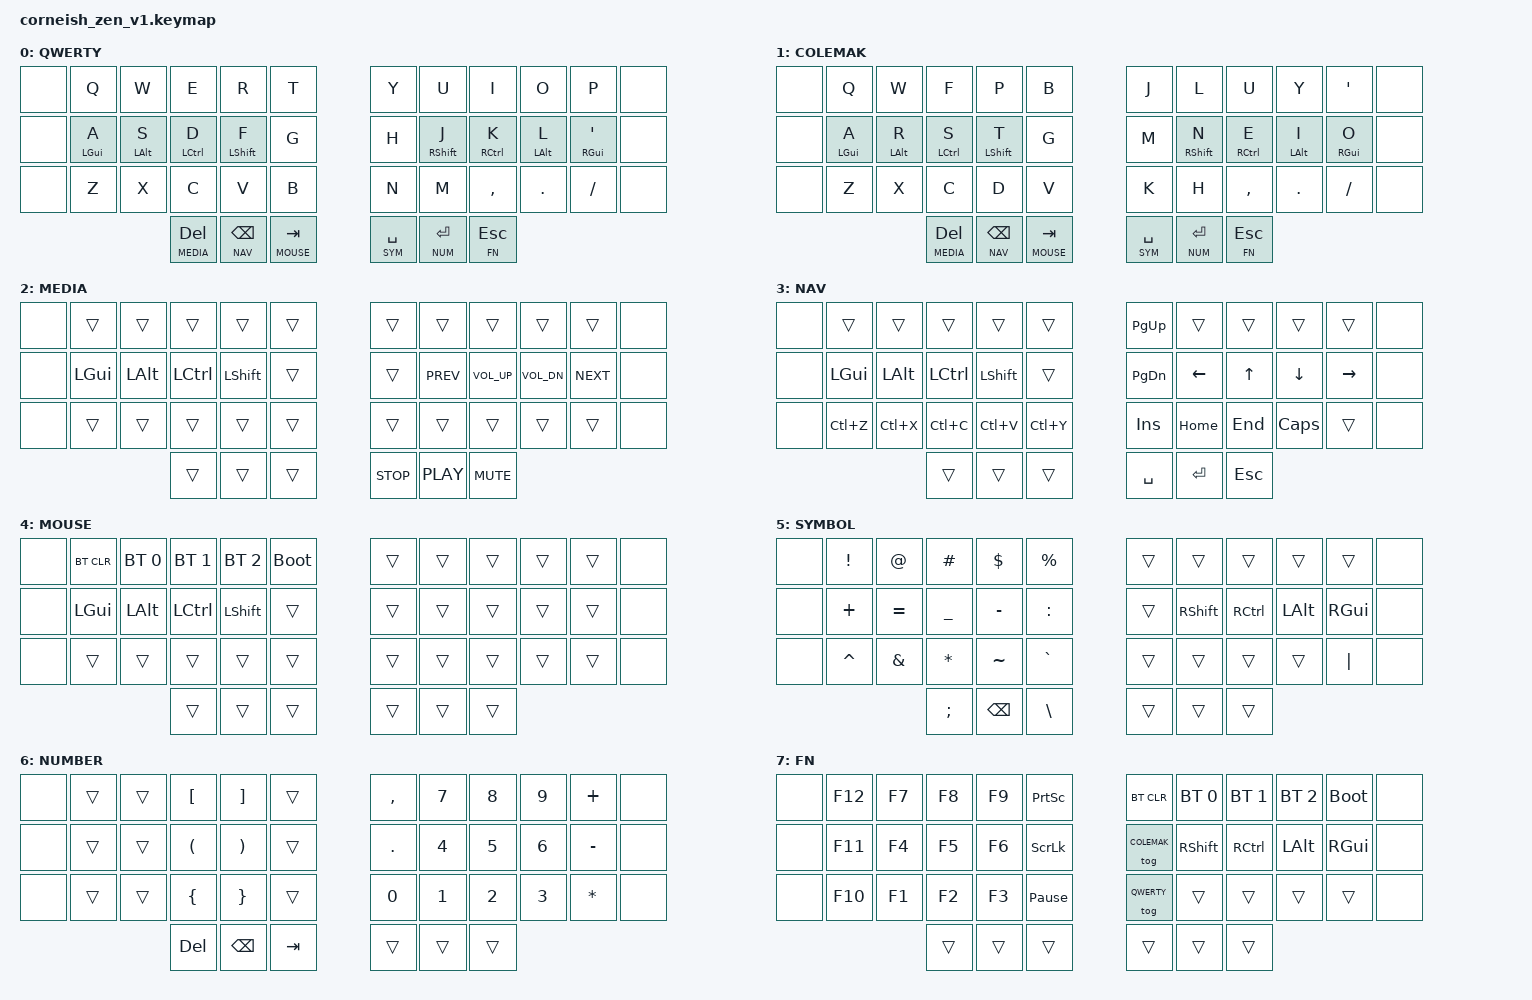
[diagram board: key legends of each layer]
#include <behaviors.dtsi>
#include <dt-bindings/zmk/keys.h>
#include <dt-bindings/zmk/bt.h>
#include <dt-bindings/zmk/matrix_transform.h>
#include <dt-bindings/zmk/outputs.h>

#define QWERTY 0
#define COLEMAK 1
#define MEDIA 2
#define NAV 3
#define MOUSE 4
#define SYM 5
#define NUM 6
#define FN 7   

/ {
  behaviors {
    hm: homerow_mods {
        compatible = "zmk,behavior-hold-tap";
        label = "HOMEROW_MODS";
        #binding-cells = <2>;
        tapping-term-ms = <150>;
        quick_tap_ms = <0>;
        flavor = "tap-preferred";
        bindings = <&kp>, <&kp>;
    };
    hl: homerow_mods_longer {
        compatible = "zmk,behavior-hold-tap";
        label = "HOMEROW_MODS_LONGER"; 
        #binding-cells = <2>;
        tapping-term-ms = <250>;
        quick-tap-ms = <0>;
        flavor = "tap-preferred";
        bindings = <&kp>, <&kp>;
    };
    lm: layer_mod_tap {
        compatible = "zmk,behavior-hold-tap";
        label = "layer_hold_tap";
        #binding-cells = <2>;
        tapping-term-ms = <180>;
        quick-tap-ms = <0>;
        flavor = "tap-preferred";
        bindings = <&mo>, <&kp>;
    };
  };

  keymap {
    compatible = "zmk,keymap";

    qwerty_layer {
        label = "QWERTY";
        // -------------------------------------------------------------------
        // |  Q  |  W  |  E  |  R  |  T  |   |  Y  |  U   |  I  |  O  |  P  |
        // |  A  |  S  |  D  |  F  |  G  |   |  H  |  J   |  K  |  L  |  ;  |
        // |  Z  |  X  |  C  |  V  |  B  |   |  N  |  M   |  ,  |  .  |  /  |
        //   
        bindings = <      
            &none &kp Q               &kp W           &kp E           &kp R           &kp T           &kp Y           &kp U           &kp I           &kp O           &kp P             &none 
            &none &hl LGUI A          &hl LALT S      &hl LCTRL D     &hm LSHIFT F    &kp G           &kp H           &hm RSHIFT J    &hm RCTRL K     &hm LALT L      &hm RGUI APOS     &none 
            &none &kp Z               &kp X           &kp C           &kp V           &kp B           &kp N           &kp M           &kp COMMA       &kp DOT         &kp FSLH          &none 
                                                &lm MEDIA DEL   &lm NAV BSPC    &lm MOUSE TAB   &lm SYM SPACE   &lm NUM RET     &lm FN ESC  
        >;      
    };

    colemak_layer {
        label = "COLEMAK"; 
        bindings = <      
            &none &kp Q               &kp W           &kp F           &kp P           &kp B           &kp J           &kp L           &kp U           &kp Y           &kp APOS          &none 
            &none &hl LGUI A          &hl LALT R      &hl LCTRL S     &hm LSHIFT T    &kp G           &kp M           &hm RSHIFT N    &hm RCTRL E     &hm LALT I      &hm RGUI O        &none 
            &none &kp Z               &kp X           &kp C           &kp D           &kp V           &kp K           &kp H           &kp COMMA       &kp DOT         &kp FSLH          &none 
                                                &lm MEDIA DEL   &lm NAV BSPC    &lm MOUSE TAB   &lm SYM SPACE   &lm NUM RET     &lm FN ESC  
        >;      
    };

    media_layer {
            label = "MEDIA";
            bindings = <
                &none &trans          &trans          &trans          &trans          &trans          &trans          &trans          &trans          &trans          &trans            &none 
                &none &kp LGUI        &kp LALT        &kp LCTRL       &kp LSHIFT      &trans          &trans          &kp C_PREV      &kp C_VOL_UP    &kp C_VOL_DN    &kp C_NEXT        &none 
                &none &trans          &trans          &trans          &trans          &trans          &trans          &trans          &trans          &trans          &trans            &none  
                                                &trans          &trans          &trans          &kp C_STOP      &kp C_PLAY      &kp C_MUTE
            >;
    };

    nav_layer {
            label = "NAV";
            bindings = <
                &none &trans          &trans          &trans          &trans          &trans          &kp PG_UP       &trans          &trans          &trans          &trans            &none  
                &none &kp LGUI        &kp LALT        &kp LCTRL       &kp LSHIFT      &trans          &kp PG_DN       &kp LEFT        &kp UP          &kp DOWN        &kp RIGHT         &none   
                &none &kp LC(Z)       &kp LC(X)       &kp LC(C)       &kp LC(V)       &kp LC(Y)       &kp INS         &kp HOME        &kp END         &kp CAPS        &trans            &none 
                                                &trans          &trans          &trans          &kp SPACE       &kp RET         &kp ESC
            >;
    };

    mouse_layer {
            label = "MOUSE";
            bindings = <
                &none &bt BT_CLR      &bt BT_SEL 0    &bt BT_SEL 1    &bt BT_SEL 2    &bootloader     &trans          &trans          &trans          &trans          &trans            &none  
                &none &kp LGUI        &kp LALT        &kp LCTRL       &kp LSHIFT      &trans          &trans          &trans          &trans          &trans          &trans            &none   
                &none &trans          &trans          &trans          &trans          &trans          &trans          &trans          &trans          &trans          &trans            &none     
                                                &trans          &trans          &trans          &trans          &trans          &trans
            >;
    };

    symbol_layer {
            label = "SYMBOL";
            bindings = <
                &none &kp EXCL        &kp AT          &kp HASH        &kp DLLR         &kp PRCNT      &trans          &trans          &trans          &trans          &trans            &none 
                &none &kp PLUS        &kp EQUAL       &kp UNDER       &kp MINUS        &kp COLON      &trans          &kp RSHIFT      &kp RCTRL       &kp LALT        &kp RGUI          &none   
                &none &kp CARET       &kp AMPS        &kp STAR        &kp TILDE        &kp GRAVE      &trans          &trans          &trans          &trans          &kp PIPE          &none 
                                                &kp SEMI        &kp BSPC         &kp BSLH       &trans          &trans          &trans
            >;
    };

    num_layer {
            label = "NUMBER";
            bindings = <
                &none &trans          &trans          &kp LBKT        &kp RBKT        &trans          &kp COMMA       &kp N7         &kp N8           &kp N9          &kp PLUS          &none 
                &none &trans          &trans          &kp LPAR        &kp RPAR        &trans          &kp DOT         &kp N4         &kp N5           &kp N6          &kp MINUS         &none        
                &none &trans          &trans          &kp LBRC        &kp RBRC        &trans          &kp N0          &kp N1         &kp N2           &kp N3          &kp STAR          &none        
                                                &kp DEL         &kp BSPC        &kp TAB         &trans          &trans         &trans
            >;
    };

    fn_layer {
            label = "FN";
            bindings = <
                &none &kp F12         &kp F7          &kp F8          &kp F9          &kp PSCRN       &bt BT_CLR      &bt BT_SEL 0    &bt BT_SEL 1    &bt BT_SEL 2    &bootloader       &none 
                &none &kp F11         &kp F4          &kp F5          &kp F6          &kp SLCK        &tog COLEMAK    &kp RSHIFT      &kp RCTRL       &kp LALT        &kp RGUI          &none        
                &none &kp F10         &kp F1          &kp F2          &kp F3          &kp PAUSE_BREAK &tog QWERTY     &trans          &trans          &trans          &trans            &none       
                                                &trans          &trans          &trans          &trans          &trans          &trans
            >;
    };
  };
};
